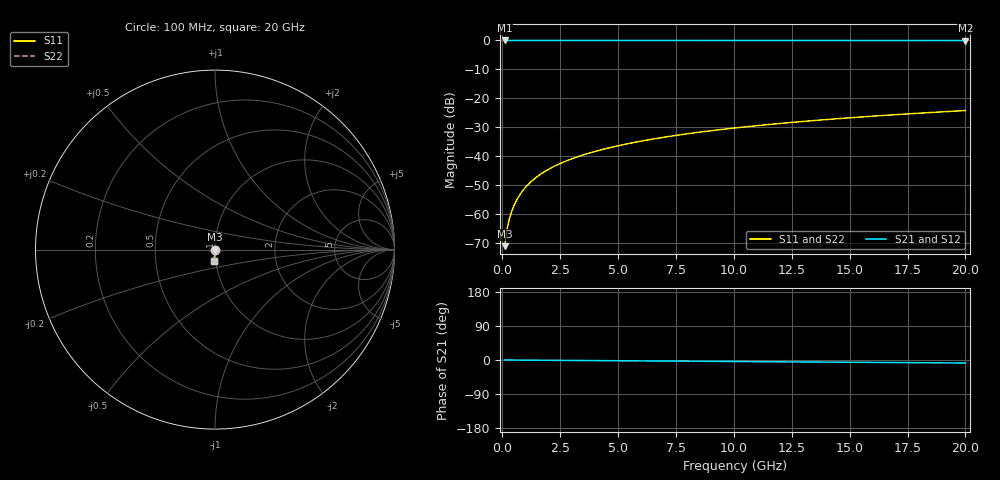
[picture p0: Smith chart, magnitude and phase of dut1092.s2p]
! Touchstone file exported from HFSS 2026.1.0
!  File:  C:/ffzhzh/LocalFiles/Ansys_Project_Files/temp_train_TSV_1092_1783190337_55132.aedt
!  Generated:  02:40:20 AM Jul  5, 2026
!  Design:  TSV
!  Project:  temp_train_TSV_1092_1783190337_55132
! Variables:
!  h_bsmrdl = 2um
!  h_ox = 20um
!  h_rdl = 5um
!  h_sub = 74.27um
!  h_tmrdl = 5um
!  h_tsv = 74.27um
!  h_via = 3um
!  l_bsmrdl = 300um
!  l_sub = 424.78um
!  l_tmrdl = 200um
!  m_sub = 200um
!  pitch = 33.86um
!  r_tsv = 12.39um
!  s_tmrdl = 10um
!  w_bsmrdl = 18um
!  w_sub = 500um
!  w_tmrdl = 12um
!  x_tsv_center1 = 206um
!  x_tsv_center2 = 524um
!  x_tsv_center3 = 736um
!  x_tsv_center4 = 1054um
!  x_tsv_center5 = 1266um
!  x_tsv_center6 = 1584um
# GHz S MA R 50.000000
! Terminal data exported
! Port[1] = TSV1_1_T1
! Port[2] = TSV1_1_T2
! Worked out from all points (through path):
!   200 points, 100 MHz to 20 GHz, reference 50 ohm
!   highest |S21| = 0.00 dB at 100 MHz (marker M1); lowest = 0.0 dB at 20 GHz (marker M2)
!   group delay of S21, straight-line fit = 1.1 ps
!   lowest |S11| = -71.1 dB at 100 MHz (marker M3), VSWR 1.00, Z = 50 - j0.0261 ohm
!   |S11| at or under -10 dB: start of sweep to end of sweep
!   |S22| runs from -71.1 to -24.2 dB; largest |S21 - S12| = 4.5e-15
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0.1  0.0002784 -69.6  0.9999 -0.0  0.9999 -0.0  0.0002784 -69.6
! Gamma 0 0 0 0
! Port Impedance 50 0 50 0
0.2  0.0005381 -78.0  0.9999 -0.1  0.9999 -0.1  0.0005381 -78.0
0.3  0.0008101 -80.5  0.9999 -0.1  0.9999 -0.1  0.0008101 -80.5
0.4  0.001091 -81.6  0.9998 -0.2  0.9998 -0.2  0.001091 -81.6
0.5  0.00138 -82.3  0.9998 -0.2  0.9998 -0.2  0.00138 -82.3
0.7  0.001974 -83.4  0.9998 -0.3  0.9998 -0.3  0.001974 -83.4
0.8  0.002276 -83.8  0.9997 -0.3  0.9997 -0.3  0.002276 -83.8
1  0.002884 -84.6  0.9997 -0.4  0.9997 -0.4  0.002884 -84.6
1.2  0.003494 -85.2  0.9997 -0.5  0.9997 -0.5  0.003494 -85.2
1.4  0.004106 -85.8  0.9996 -0.6  0.9996 -0.6  0.004106 -85.8
1.7  0.005023 -86.4  0.9996 -0.7  0.9996 -0.7  0.005023 -86.4
2  0.005939 -87.0  0.9996 -0.8  0.9996 -0.8  0.005939 -87.0
2.7  0.008078 -87.9  0.9995 -1.1  0.9995 -1.1  0.008077 -87.9
3.5  0.01053 -88.7  0.9994 -1.4  0.9994 -1.4  0.01053 -88.7
4.2  0.01267 -89.2  0.9994 -1.7  0.9994 -1.7  0.01267 -89.2
5  0.01513 -89.7  0.9993 -2.0  0.9993 -2.0  0.01513 -89.7
6.8  0.02069 -90.7  0.9991 -2.7  0.9991 -2.7  0.02069 -90.7
8.3  0.02533 -91.5  0.9989 -3.3  0.9989 -3.3  0.02533 -91.5
10.1  0.0309 -92.4  0.9986 -4.0  0.9986 -4.0  0.0309 -92.4
13.4  0.04112 -93.9  0.9982 -5.3  0.9982 -5.3  0.04112 -93.9
16.7  0.05132 -95.4  0.9976 -6.6  0.9976 -6.6  0.05132 -95.4
20  0.0615 -96.7  0.9969 -7.9  0.9969 -7.9  0.0615 -96.7
